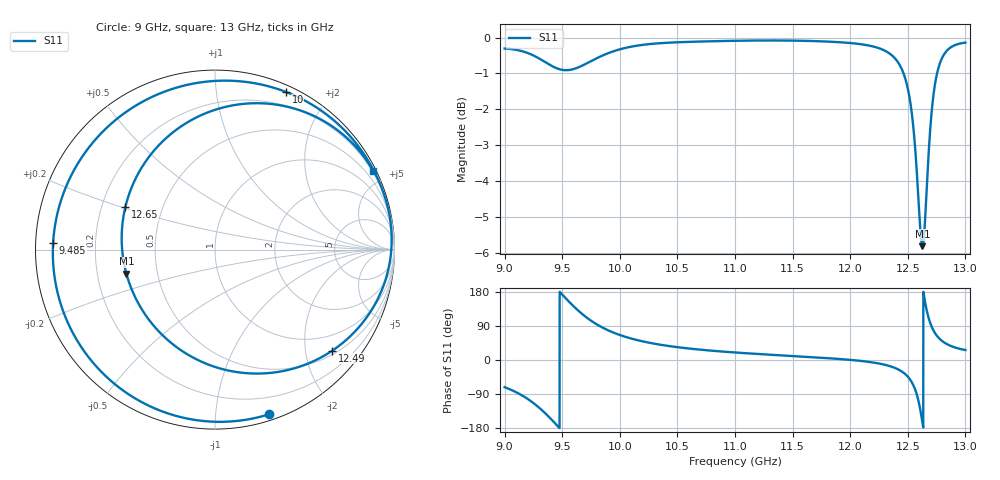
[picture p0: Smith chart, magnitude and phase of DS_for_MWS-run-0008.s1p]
! TOUCHSTONE file generated by CST DESIGN STUDIO
! Date and time: Tue Feb  4 13:14:56 2025
! Project name: C:\Work\MatlabApps\UnitCellOptimizationMatlab\CST\unitcell.cst
! Tree item: Tasks\Sweep1\SPara1\S-Parameters
! Header version: 2024
! Port assignment regex: !\s*Touchstone port\s*([0-9]+)\s*=\s*(CST MWS port|CST DES external port|CST DES block port)\s*(.+)\s* \(\"(.*)\"\)(\s*mode\s*([0-9]+))?.*
! Touchstone port assignment:
! Touchstone port 1 = CST DES external port 1 ("")
# GHz S MA R 50
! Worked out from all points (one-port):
!   4001 points, 9 GHz to 13 GHz, reference 50 ohm
!   lowest |S11| = -5.8 dB at 12.63 GHz (marker M1), VSWR 3.10, Z = 16.4 - j5.96 ohm
!   |S11| at or under -10 dB: nowhere
!   S11 on the Smith chart (normalised r, x): 9 GHz: 0.05, -1.38; 9.485 GHz: 0.05, +0.02; 10 GHz: 0.06, +1.54; 12.49 GHz: 0.59, -2.58; 12.65 GHz: 0.30, +0.21; 13 GHz: 0.16, +4.28
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9  0.9657 -71.7
9.155  0.9571 -94.1
9.265  0.9417 -117.1
9.391  0.9165 -152.1
9.485  0.9027 177.6
9.5  0.9016 172.7
9.61  0.9051 138.5
9.713  0.9207 111.8
9.832  0.9413 88.5
10  0.9631 66.0
10.002  0.9633 65.8
10.216  0.9778 48.0
10.5  0.9852 33.9
11  0.9899 19.8
11.5  0.9905 10.5
12  0.9828 0.4
12.344  0.9497 -16.2
12.49  0.8627 -40.7
12.5  0.8492 -43.9
12.575  0.6617 -87.9
12.6  0.5673 -118.0
12.627  0.5117 -164.8
12.649  0.5531 154.5
12.686  0.711 105.6
12.726  0.8394 76.2
12.771  0.913 57.5
12.825  0.9528 44.5
13  0.9841 26.2
